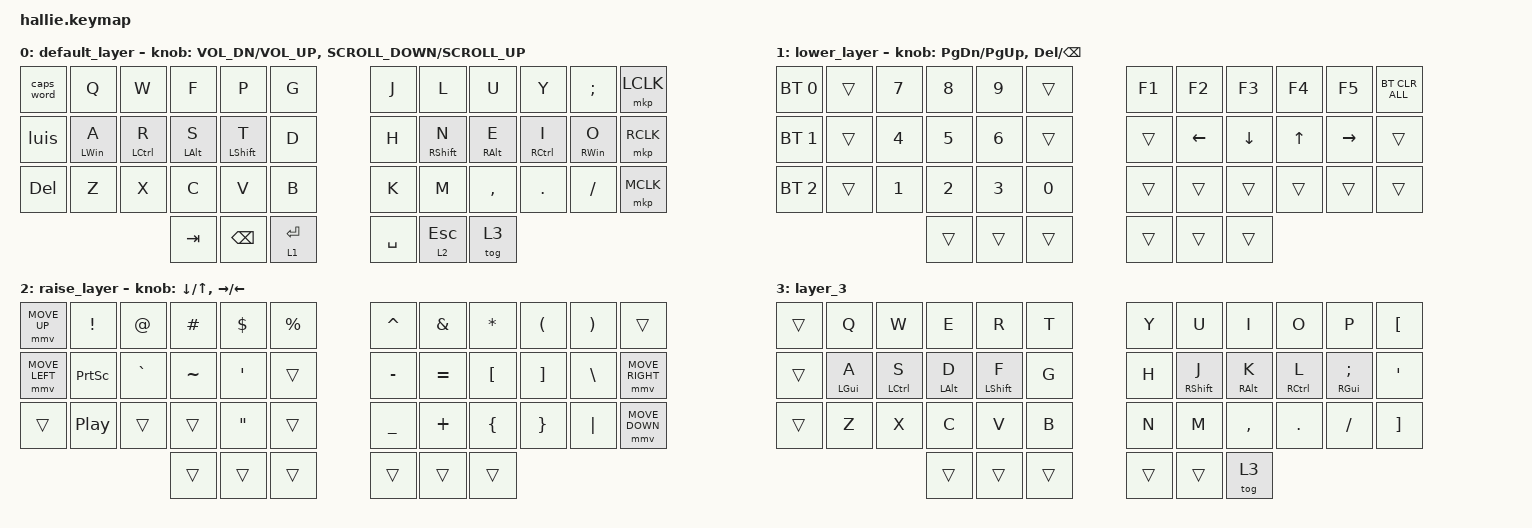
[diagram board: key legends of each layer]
#undef ZMK_BEHAVIORS_KEEP_ALL

#define ZMK_BEHAVIORS_KEEP_IND
#define ZMK_BEHAVIORS_KEEP_BT
#define ZMK_BEHAVIORS_KEEP_GRESC
#define ZMK_BEHAVIORS_KEEP_SYS_RESET
#define ZMK_BEHAVIORS_KEEP_BOOTLOADER
#define ZMK_BEHAVIORS_KEEP_CAPS_WORD
#define ZMK_BEHAVIORS_KEEP_KEY_REPEAT
#define ZMK_BEHAVIORS_KEEP_KT
#define ZMK_BEHAVIORS_KEEP_LT
#define ZMK_BEHAVIORS_KEEP_MT
#define ZMK_BEHAVIORS_KEEP_SK
#define ZMK_BEHAVIORS_KEEP_STICKY_LAYER
#define ZMK_BEHAVIORS_KEEP_TO
#define ZMK_BEHAVIORS_KEEP_TOG
#define ZMK_BEHAVIORS_KEEP_TRANS

#include <behaviors/indicators.dtsi>
#include <dt-bindings/zmk/indicators.h>
#include <behaviors.dtsi>
#include <dt-bindings/zmk/bt.h>
#include <dt-bindings/zmk/keys.h>
#include <dt-bindings/zmk/pointing.h>

#define DEF 0
#define LWR 1
#define RSE 2
#define ADJ 3

/ {
    behaviors {
        HML: HML {
            compatible = "zmk,behavior-hold-tap";
            label = "HML";
            bindings = <&kp>, <&kp>;

            #binding-cells = <2>;
            tapping-term-ms = <275>;
            flavor = "balanced";
            quick-tap-ms = <175>;
            hold-trigger-on-release;
        };

        HMR: HMR {
            compatible = "zmk,behavior-hold-tap";
            label = "HMR";
            bindings = <&kp>, <&kp>;

            #binding-cells = <2>;
            tapping-term-ms = <275>;
            flavor = "tap-preferred";
            quick-tap-ms = <175>;
            hold-trigger-on-release;
        };
    };

    macros {
        luis: new_macro {
            compatible = "zmk,behavior-macro";
            #binding-cells = <0>;
            bindings = <&kp COLON &kp L &kp U &kp I &kp S &kp I &kp N &kp H &kp O &kp COLON>;
            label = "NEW_MACRO";
        };
    };

    keymap {
        compatible = "zmk,keymap";

        default_layer {
            bindings = <
&caps_word  &kp Q            &kp W         &kp F            &kp P              &kp G          &kp J      &kp L               &kp U             &kp Y                 &kp SEMICOLON     &mkp LCLK
&luis       &HML LEFT_WIN A  &HML LCTRL R  &HML LEFT_ALT S  &HML LEFT_SHIFT T  &kp D          &kp H      &HMR RIGHT_SHIFT N  &HMR RIGHT_ALT E  &HMR RIGHT_CONTROL I  &HMR RIGHT_WIN O  &mkp RCLK
&kp DELETE  &kp Z            &kp X         &kp C            &kp V              &kp B          &kp K      &kp M               &kp COMMA         &kp DOT               &kp SLASH         &mkp MCLK
                                           &kp TAB          &kp BACKSPACE      &lt 1 ENTER    &kp SPACE  &lt 2 ESCAPE        &tog 3
            >;

            sensor-bindings =
                <&inc_dec_kp C_VOL_DN C_VOL_UP>,
                <&inc_dec_kp K_SCROLL_DOWN K_SCROLL_UP>;
        };

        lower_layer {
            bindings = <
&bt BT_SEL 0  &trans  &kp N7  &kp N8  &kp N9  &trans    &kp F1  &kp F2          &kp F3          &kp F4        &kp F5           &bt BT_CLR_ALL
&bt BT_SEL 1  &trans  &kp N4  &kp N5  &kp N6  &trans    &trans  &kp LEFT_ARROW  &kp DOWN_ARROW  &kp UP_ARROW  &kp RIGHT_ARROW  &trans
&bt BT_SEL 2  &trans  &kp N1  &kp N2  &kp N3  &kp N0    &trans  &trans          &trans          &trans        &trans           &trans
                              &trans  &trans  &trans    &trans  &trans          &trans
            >;

            sensor-bindings =
                <&inc_dec_kp PG_DN PG_UP>,
                <&inc_dec_kp DELETE BACKSPACE>;
        };

        raise_layer {
            bindings = <
&mmv MOVE_UP    &kp EXCL          &kp AT_SIGN  &kp HASH   &kp DOLLAR         &kp PERCENT    &kp CARET       &kp AMPERSAND  &kp STAR          &kp LEFT_PARENTHESIS  &kp RIGHT_PARENTHESIS  &trans
&mmv MOVE_LEFT  &kp PRINTSCREEN   &kp GRAVE    &kp TILDE  &kp SINGLE_QUOTE   &trans         &kp MINUS       &kp EQUAL      &kp LEFT_BRACKET  &kp RIGHT_BRACKET     &kp BACKSLASH          &mmv MOVE_RIGHT
&trans          &kp C_PLAY_PAUSE  &trans       &trans     &kp DOUBLE_QUOTES  &trans         &kp UNDERSCORE  &kp PLUS       &kp LEFT_BRACE    &kp RIGHT_BRACE       &kp PIPE               &mmv MOVE_DOWN
                                               &trans     &trans             &trans         &trans          &trans         &trans
            >;

            sensor-bindings = <&inc_dec_kp DOWN_ARROW UP_ARROW &inc_dec_kp RIGHT_ARROW LEFT_ARROW>;
        };

        layer_3 {
            bindings = <
&trans  &kp Q            &kp W                &kp E            &kp R              &kp T     &kp Y   &kp U               &kp I             &kp O                 &kp P                &kp LEFT_BRACKET
&trans  &HML LEFT_GUI A  &HML LEFT_CONTROL S  &HML LEFT_ALT D  &HML LEFT_SHIFT F  &kp G     &kp H   &HMR RIGHT_SHIFT J  &HMR RIGHT_ALT K  &HMR RIGHT_CONTROL L  &HMR RIGHT_GUI SEMI  &kp APOSTROPHE
&trans  &kp Z            &kp X                &kp C            &kp V              &kp B     &kp N   &kp M               &kp COMMA         &kp DOT               &kp FSLH             &kp RIGHT_BRACKET
                                              &trans           &trans             &trans    &trans  &trans              &tog 3
            >;
        };
    };
};
